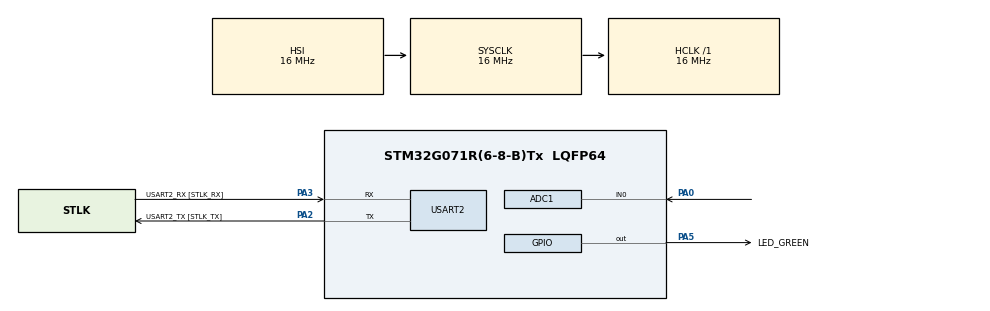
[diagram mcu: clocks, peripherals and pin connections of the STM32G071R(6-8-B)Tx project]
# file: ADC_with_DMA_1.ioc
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ADC1.Channel-0\#ChannelRegularConversion=ADC_CHANNEL_0
ADC1.ContinuousConvMode=ENABLE
ADC1.NbrOfConversion=1
ADC1.NbrOfConversionFlag=1
ADC1.Rank-0\#ChannelRegularConversion=1
ADC1.SamplingTime-0\#ChannelRegularConversion=ADC_SAMPLINGTIME_COMMON_1
ADC1.SelectedChannel=ADC_CHANNEL_0
ADC1.master=1
Dma.ADC1.0.Direction=DMA_PERIPH_TO_MEMORY
Dma.ADC1.0.EventEnable=DISABLE
Dma.ADC1.0.Instance=DMA1_Channel1
Dma.ADC1.0.MemDataAlignment=DMA_MDATAALIGN_WORD
Dma.ADC1.0.MemInc=DMA_MINC_ENABLE
Dma.ADC1.0.Mode=DMA_CIRCULAR
Dma.ADC1.0.PeriphDataAlignment=DMA_PDATAALIGN_WORD
Dma.ADC1.0.PeriphInc=DMA_PINC_DISABLE
Dma.ADC1.0.Polarity=HAL_DMAMUX_REQ_GEN_RISING
Dma.ADC1.0.Priority=DMA_PRIORITY_LOW
Dma.ADC1.0.RequestNumber=1
Dma.ADC1.0.SignalID=NONE
Dma.ADC1.0.SyncEnable=DISABLE
Dma.ADC1.0.SyncPolarity=HAL_DMAMUX_SYNC_NO_EVENT
Dma.ADC1.0.SyncRequestNumber=1
Dma.ADC1.0.SyncSignalID=NONE
Dma.Request0=ADC1
Dma.Request1=USART2_TX
Dma.USART2_TX.1.Direction=DMA_MEMORY_TO_PERIPH
Dma.USART2_TX.1.EventEnable=DISABLE
Dma.USART2_TX.1.Instance=DMA1_Channel2
Dma.USART2_TX.1.MemDataAlignment=DMA_MDATAALIGN_WORD
Dma.USART2_TX.1.MemInc=DMA_MINC_ENABLE
Dma.USART2_TX.1.Mode=DMA_CIRCULAR
Dma.USART2_TX.1.PeriphDataAlignment=DMA_PDATAALIGN_WORD
Dma.USART2_TX.1.PeriphInc=DMA_PINC_DISABLE
Dma.USART2_TX.1.Polarity=HAL_DMAMUX_REQ_GEN_RISING
Dma.USART2_TX.1.Priority=DMA_PRIORITY_LOW
Dma.USART2_TX.1.RequestNumber=1
Dma.USART2_TX.1.SignalID=NONE
Dma.USART2_TX.1.SyncEnable=DISABLE
Dma.USART2_TX.1.SyncPolarity=HAL_DMAMUX_SYNC_NO_EVENT
Dma.USART2_TX.1.SyncRequestNumber=1
Dma.USART2_TX.1.SyncSignalID=NONE
Mcu.Family=STM32G0
Mcu.Name=STM32G071R(6-8-B)Tx
Mcu.Package=LQFP64
NVIC.DMA1_Channel1_IRQn=true\:0\:0\:false\:false\:true\:false\:true
NVIC.DMA1_Channel2_3_IRQn=true\:0\:0\:false\:false\:true\:false\:true
PA0.Mode=IN0
PA0.Signal=ADC1_IN0
PA13.GPIO_Label=TMS
PA13.Signal=SYS_SWDIO
PA14-BOOT0.GPIO_Label=TCK
PA14-BOOT0.Signal=SYS_SWCLK
PA2.GPIO_Label=USART2_TX [STLK_TX]
PA2.Mode=Asynchronous
PA2.Signal=USART2_TX
PA3.GPIO_Label=USART2_RX [STLK_RX]
PA3.Mode=Asynchronous
PA3.Signal=USART2_RX
PA5.GPIO_Label=LED_GREEN
PA5.GPIO_Speed=GPIO_SPEED_FREQ_HIGH
PA5.Signal=GPIO_Output
PC13.Signal=SYS_WKUP2
PC14-OSC32_IN\ (PC14).Signal=RCC_OSC32_IN
PC15-OSC32_OUT\ (PC15).Signal=RCC_OSC32_OUT
PF0-OSC_IN\ (PF0).GPIO_Label=MCO
PF0-OSC_IN\ (PF0).Signal=RCC_OSC_IN
ProjectManager.HeapSize=0x200
ProjectManager.StackSize=0x400
ProjectManager.TargetToolchain=STM32CubeIDE
RCC.AHBFreq_Value=16000000
RCC.CortexFreq_Value=16000000
RCC.EXTERNAL_CLOCK_VALUE=12288000
RCC.HCLKFreq_Value=16000000
RCC.HSE_VALUE=8000000
RCC.HSI_VALUE=16000000
RCC.LSE_VALUE=32768
RCC.SYSCLKFreq_VALUE=16000000
RCC.VCOOutputFreq_Value=128000000
TIM6.Prescaler=16000-1
USART2.VirtualMode-Asynchronous=VM_ASYNC
USART2.WordLength=WORDLENGTH_8B
VP_SYS_VS_DBSignals.Mode=DisableDeadBatterySignals
VP_TIM6_VS_ClockSourceINT.Mode=Enable_Timer
board=NUCLEO-G071RB

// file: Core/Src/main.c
/* USER CODE BEGIN Header */
/**
  ******************************************************************************
  * @file           : main.c
  * @brief          : Main program body
  ******************************************************************************
  * @attention
  *
  * <h2><center>&copy; Copyright (c) 2023 STMicroelectronics.
  * All rights reserved.</center></h2>
  *
  * This software component is licensed by ST under BSD 3-Clause license,
  * the "License"; You may not use this file except in compliance with the
  * License. You may obtain a copy of the License at:
  *                        opensource.org/licenses/BSD-3-Clause
  *
  ******************************************************************************
  */
/* USER CODE END Header */
#include "main.h"

/* USER CODE BEGIN Includes */
#include <string.h>
#include <stdio.h>
/* USER CODE END Includes */

ADC_HandleTypeDef hadc1;
DMA_HandleTypeDef hdma_adc1;

TIM_HandleTypeDef htim6;

UART_HandleTypeDef huart2;
DMA_HandleTypeDef hdma_usart2_tx;

void SystemClock_Config(void);
static void MX_GPIO_Init(void);
static void MX_ADC1_Init(void);
static void MX_USART2_UART_Init(void);
static void MX_DMA_Init(void);
static void MX_TIM6_Init(void);
/* USER CODE BEGIN PFP */
void DMATransferComplete(DMA_HandleTypeDef *hdma);
/* USER CODE END PFP */

int main(void)
{
  /* USER CODE BEGIN 1 */
	uint16_t raw;
	char msg[10];
	char mayuri[] = "DMA is working properly , you can move now\r\n";
  /* USER CODE END 1 */

  /* MCU Configuration--------------------------------------------------------*/

  /* Reset of all peripherals, Initializes the Flash interface and the Systick. */
  HAL_Init();

  /* Configure the system clock */
  SystemClock_Config();

  /* Initialize all configured peripherals */
  MX_GPIO_Init();
  MX_ADC1_Init();
  MX_USART2_UART_Init();
  MX_DMA_Init();
  MX_TIM6_Init();
  /* USER CODE BEGIN 2 */
  HAL_DMA_RegisterCallback(&hdma_adc1, HAL_DMA_XFER_CPLT_CB_ID, &DMATransferComplete);
  /* USER CODE END 2 */

  /* Infinite loop */
  /* USER CODE BEGIN WHILE */
  while (1)
  {
	  huart2.Instance->CR3 |= USART_CR3_DMAT;

	  HAL_DMA_Start_IT(&hdma_adc1, (uint32_t)msg,
	  			  (uint32_t)&huart2.Instance->TDR, strlen(msg));

	  if(HAL_DMA_Start_IT(&hdma_adc1, (uint32_t)msg,
			  (uint32_t)&huart2.Instance->TDR, strlen(msg)) != HAL_OK){
		  /* ADC conversion start error */
		      HAL_UART_Transmit(&huart2, "Error in DMA generation\r\n", sizeof("Error in DMA generation\r\n"), HAL_MAX_DELAY);
	  }

	  HAL_UART_Transmit(&huart2, "Code is runing\r\n", sizeof("Code is runing\r\n"), HAL_MAX_DELAY);
	  HAL_Delay(1000);
//	  //Get the ADC value
//
//	  HAL_ADC_Start(&hadc1);
//	  HAL_ADC_PollForConversion(&hadc1, HAL_MAX_DELAY);
//	  raw = HAL_ADC_GetValue(&hadc1);
//
//	  //Convert to string and print
//	  sprintf(msg,"%hu\r\n",raw);
//	  HAL_UART_Transmit(&huart2,(uint8_t*)msg,strlen(msg), HAL_MAX_DELAY);

    /* USER CODE END WHILE */

  }
}

void SystemClock_Config(void)
{
  RCC_OscInitTypeDef RCC_OscInitStruct = {0};
  RCC_ClkInitTypeDef RCC_ClkInitStruct = {0};
  RCC_PeriphCLKInitTypeDef PeriphClkInit = {0};

  /** Configure the main internal regulator output voltage
  */
  HAL_PWREx_ControlVoltageScaling(PWR_REGULATOR_VOLTAGE_SCALE1);
  /** Initializes the RCC Oscillators according to the specified parameters
  * in the RCC_OscInitTypeDef structure.
  */
  RCC_OscInitStruct.OscillatorType = RCC_OSCILLATORTYPE_HSI;
  RCC_OscInitStruct.HSIState = RCC_HSI_ON;
  RCC_OscInitStruct.HSIDiv = RCC_HSI_DIV1;
  RCC_OscInitStruct.HSICalibrationValue = RCC_HSICALIBRATION_DEFAULT;
  RCC_OscInitStruct.PLL.PLLState = RCC_PLL_NONE;
  if (HAL_RCC_OscConfig(&RCC_OscInitStruct) != HAL_OK)
  {
    Error_Handler();
  }
  /** Initializes the CPU, AHB and APB buses clocks
  */
  RCC_ClkInitStruct.ClockType = RCC_CLOCKTYPE_HCLK|RCC_CLOCKTYPE_SYSCLK
                              |RCC_CLOCKTYPE_PCLK1;
  RCC_ClkInitStruct.SYSCLKSource = RCC_SYSCLKSOURCE_HSI;
  RCC_ClkInitStruct.AHBCLKDivider = RCC_SYSCLK_DIV1;
  RCC_ClkInitStruct.APB1CLKDivider = RCC_HCLK_DIV1;

  if (HAL_RCC_ClockConfig(&RCC_ClkInitStruct, FLASH_LATENCY_0) != HAL_OK)
  {
    Error_Handler();
  }
  /** Initializes the peripherals clocks
  */
  PeriphClkInit.PeriphClockSelection = RCC_PERIPHCLK_USART2|RCC_PERIPHCLK_ADC;
  PeriphClkInit.Usart2ClockSelection = RCC_USART2CLKSOURCE_PCLK1;
  PeriphClkInit.AdcClockSelection = RCC_ADCCLKSOURCE_SYSCLK;
  if (HAL_RCCEx_PeriphCLKConfig(&PeriphClkInit) != HAL_OK)
  {
    Error_Handler();
  }
}

static void MX_ADC1_Init(void)
{

  ADC_ChannelConfTypeDef sConfig = {0};

  /** Configure the global features of the ADC (Clock, Resolution, Data Alignment and number of conversion)
  */
  hadc1.Instance = ADC1;
  hadc1.Init.ClockPrescaler = ADC_CLOCK_SYNC_PCLK_DIV2;
  hadc1.Init.Resolution = ADC_RESOLUTION_12B;
  hadc1.Init.DataAlign = ADC_DATAALIGN_RIGHT;
  hadc1.Init.ScanConvMode = ADC_SCAN_DISABLE;
  hadc1.Init.EOCSelection = ADC_EOC_SINGLE_CONV;
  hadc1.Init.LowPowerAutoWait = DISABLE;
  hadc1.Init.LowPowerAutoPowerOff = DISABLE;
  hadc1.Init.ContinuousConvMode = ENABLE;
  hadc1.Init.NbrOfConversion = 1;
  hadc1.Init.DiscontinuousConvMode = DISABLE;
  hadc1.Init.ExternalTrigConv = ADC_SOFTWARE_START;
  hadc1.Init.ExternalTrigConvEdge = ADC_EXTERNALTRIGCONVEDGE_NONE;
  hadc1.Init.DMAContinuousRequests = DISABLE;
  hadc1.Init.Overrun = ADC_OVR_DATA_PRESERVED;
  hadc1.Init.SamplingTimeCommon1 = ADC_SAMPLETIME_1CYCLE_5;
  hadc1.Init.SamplingTimeCommon2 = ADC_SAMPLETIME_1CYCLE_5;
  hadc1.Init.OversamplingMode = DISABLE;
  hadc1.Init.TriggerFrequencyMode = ADC_TRIGGER_FREQ_HIGH;
  if (HAL_ADC_Init(&hadc1) != HAL_OK)
  {
    Error_Handler();
  }
  /** Configure Regular Channel
  */
  sConfig.Channel = ADC_CHANNEL_0;
  sConfig.Rank = ADC_REGULAR_RANK_1;
  sConfig.SamplingTime = ADC_SAMPLINGTIME_COMMON_1;
  if (HAL_ADC_ConfigChannel(&hadc1, &sConfig) != HAL_OK)
  {
    Error_Handler();
  }

}

static void MX_TIM6_Init(void)
{

  TIM_MasterConfigTypeDef sMasterConfig = {0};

  htim6.Instance = TIM6;
  htim6.Init.Prescaler = 16000-1;
  htim6.Init.CounterMode = TIM_COUNTERMODE_UP;
  htim6.Init.Period = 65535;
  htim6.Init.AutoReloadPreload = TIM_AUTORELOAD_PRELOAD_DISABLE;
  if (HAL_TIM_Base_Init(&htim6) != HAL_OK)
  {
    Error_Handler();
  }
  sMasterConfig.MasterOutputTrigger = TIM_TRGO_RESET;
  sMasterConfig.MasterSlaveMode = TIM_MASTERSLAVEMODE_DISABLE;
  if (HAL_TIMEx_MasterConfigSynchronization(&htim6, &sMasterConfig) != HAL_OK)
  {
    Error_Handler();
  }

}

static void MX_USART2_UART_Init(void)
{

  huart2.Instance = USART2;
  huart2.Init.BaudRate = 115200;
  huart2.Init.WordLength = UART_WORDLENGTH_8B;
  huart2.Init.StopBits = UART_STOPBITS_1;
  huart2.Init.Parity = UART_PARITY_NONE;
  huart2.Init.Mode = UART_MODE_TX_RX;
  huart2.Init.HwFlowCtl = UART_HWCONTROL_NONE;
  huart2.Init.OverSampling = UART_OVERSAMPLING_16;
  huart2.Init.OneBitSampling = UART_ONE_BIT_SAMPLE_DISABLE;
  huart2.Init.ClockPrescaler = UART_PRESCALER_DIV1;
  huart2.AdvancedInit.AdvFeatureInit = UART_ADVFEATURE_NO_INIT;
  if (HAL_UART_Init(&huart2) != HAL_OK)
  {
    Error_Handler();
  }
  if (HAL_UARTEx_SetTxFifoThreshold(&huart2, UART_TXFIFO_THRESHOLD_1_8) != HAL_OK)
  {
    Error_Handler();
  }
  if (HAL_UARTEx_SetRxFifoThreshold(&huart2, UART_RXFIFO_THRESHOLD_1_8) != HAL_OK)
  {
    Error_Handler();
  }
  if (HAL_UARTEx_DisableFifoMode(&huart2) != HAL_OK)
  {
    Error_Handler();
  }

}

static void MX_DMA_Init(void)
{

  /* DMA controller clock enable */
  __HAL_RCC_DMA1_CLK_ENABLE();

  /* DMA interrupt init */
  /* DMA1_Channel1_IRQn interrupt configuration */
  HAL_NVIC_SetPriority(DMA1_Channel1_IRQn, 0, 0);
  HAL_NVIC_EnableIRQ(DMA1_Channel1_IRQn);
  /* DMA1_Channel2_3_IRQn interrupt configuration */
  HAL_NVIC_SetPriority(DMA1_Channel2_3_IRQn, 0, 0);
  HAL_NVIC_EnableIRQ(DMA1_Channel2_3_IRQn);

}

static void MX_GPIO_Init(void)
{
  GPIO_InitTypeDef GPIO_InitStruct = {0};

  /* GPIO Ports Clock Enable */
  __HAL_RCC_GPIOC_CLK_ENABLE();
  __HAL_RCC_GPIOF_CLK_ENABLE();
  __HAL_RCC_GPIOA_CLK_ENABLE();

  /*Configure GPIO pin Output Level */
  HAL_GPIO_WritePin(LED_GREEN_GPIO_Port, LED_GREEN_Pin, GPIO_PIN_RESET);

  /*Configure GPIO pin : LED_GREEN_Pin */
  GPIO_InitStruct.Pin = LED_GREEN_Pin;
  GPIO_InitStruct.Mode = GPIO_MODE_OUTPUT_PP;
  GPIO_InitStruct.Pull = GPIO_NOPULL;
  GPIO_InitStruct.Speed = GPIO_SPEED_FREQ_HIGH;
  HAL_GPIO_Init(LED_GREEN_GPIO_Port, &GPIO_InitStruct);

}

/* USER CODE BEGIN 4 */
void DMATransferComplete(DMA_HandleTypeDef *hdma){

	//Disable UART DMA mode
	//huart2.Instance->CR3 &= ~USART_CR3_DMAT;
	//static int count;
	//count++;
	//HAL_UART_Transmit(&huart2, (uint8_t*)count, sizeof(count), 1000);
	HAL_UART_Transmit(&huart2, "Transfer completed\r\n", sizeof("Transfer completed\r\n"), HAL_MAX_DELAY);
	//Toggle LD2

}
/* USER CODE END 4 */

void Error_Handler(void)
{
  __disable_irq();
  while (1)
  {
  }
}

/************************ (C) COPYRIGHT STMicroelectronics *****END OF FILE****/
